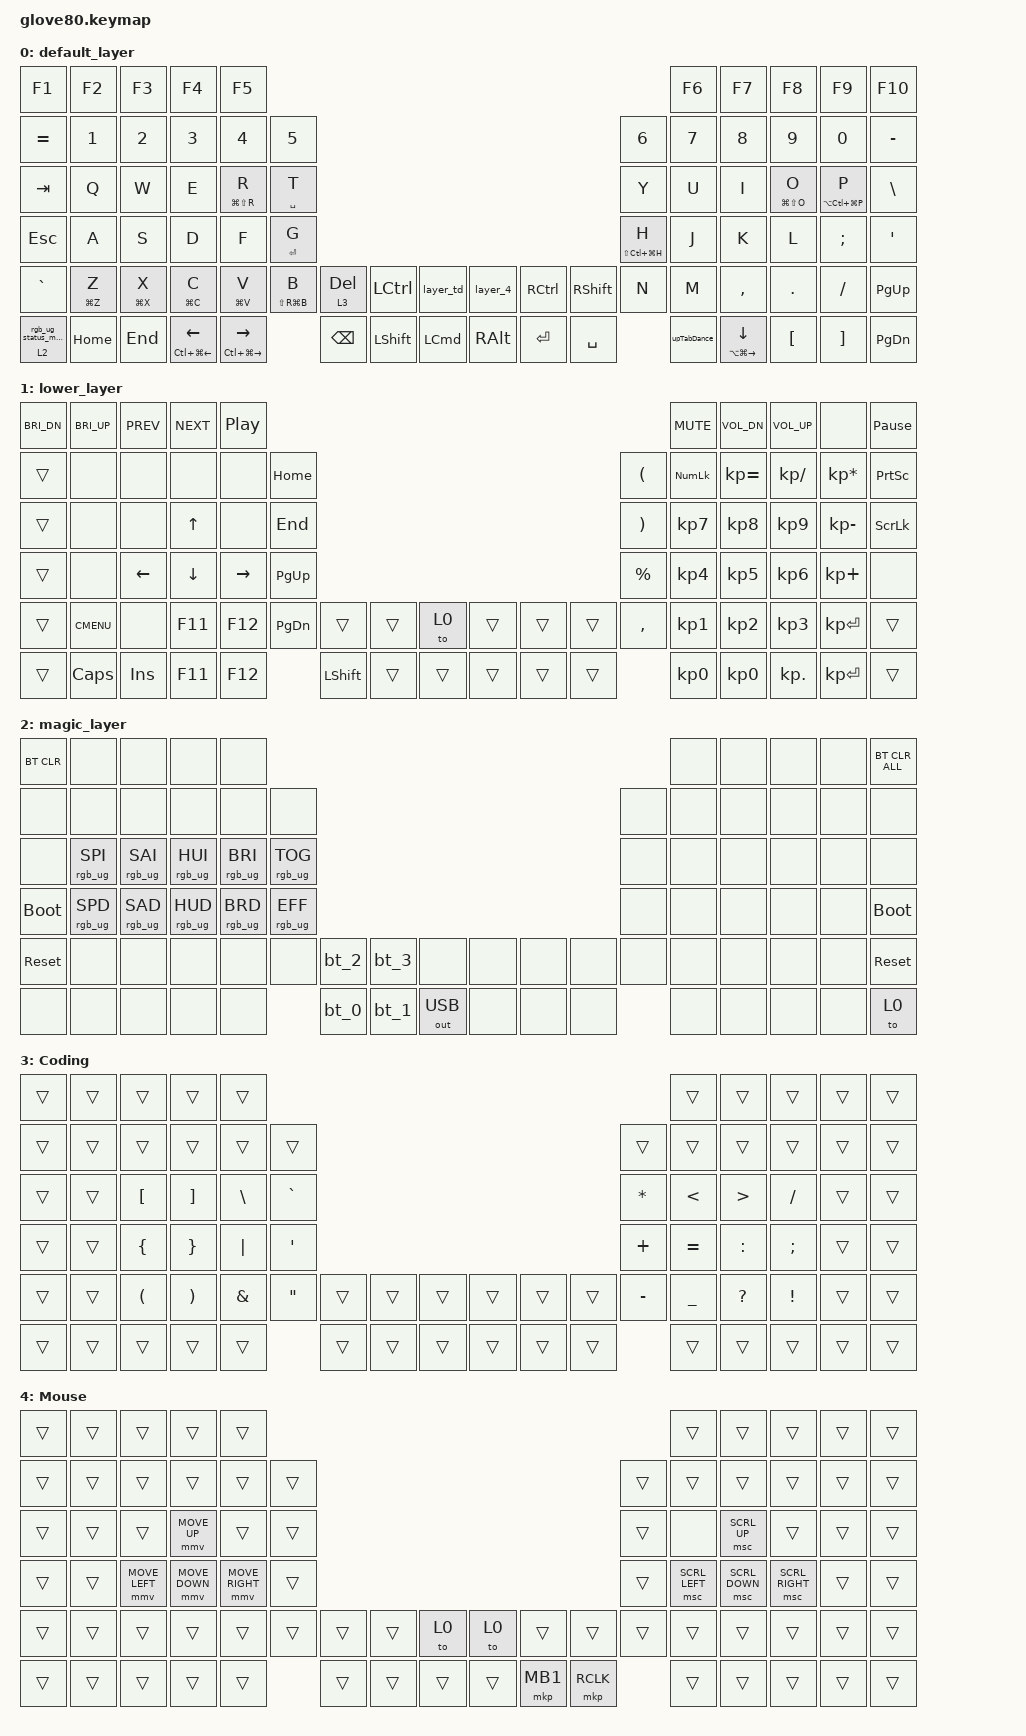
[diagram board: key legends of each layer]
/*
 * Copyright (c) 2020 The ZMK Contributors
 *
 * SPDX-License-Identifier: MIT
 */

#include <behaviors.dtsi>
#include <dt-bindings/zmk/bt.h>
#include <dt-bindings/zmk/keys.h>
#include <dt-bindings/zmk/outputs.h>
#include <dt-bindings/zmk/pointing.h>
#include <dt-bindings/zmk/rgb.h>

#define HYPER LC(LS(LG(LALT)))

// layers

#define DEFAULT 0
#define LOWER 1
#define MAGIC 2
#define CODING 3
#define MOUSE 4

/ {
    behaviors {
        // For the "layer" key, it'd nice to be able to use it as either a shift or a toggle.
        // Configure it as a tap dance, so the first tap (or hold) is a &mo and the second tap is a &to

        layer_td: tap_dance_0 {
            compatible = "zmk,behavior-tap-dance";
            label = "LAYER_TAP_DANCE";
            #binding-cells = <0>;
            tapping-term-ms = <300>;
            bindings = <&mo 1>, <&to 1>;
        };

        magic: magic_hold_tap {
            compatible = "zmk,behavior-hold-tap";
            label = "MAGIC_HOLD_TAP";
            #binding-cells = <2>;
            flavor = "tap-preferred";
            tapping-term-ms = <200>;
            bindings = <&mo>, <&rgb_ug_status_macro>;
        };

        hm: hm {
            compatible = "zmk,behavior-hold-tap";
            label = "HM";
            bindings = <&kp>, <&kp>;

            #binding-cells = <2>;
            tapping-term-ms = <400>;
            quick-tap-ms = <400>;
            require-prior-idle-ms = <400>;
            flavor = "balanced";
        };

        layer_4: layer_4 {
            compatible = "zmk,behavior-tap-dance";
            label = "LAYER_4";
            #binding-cells = <0>;
            tapping-term-ms = <300>;
            bindings = <&mo 4>, <&to 4>;
        };

        upTabDance: upTabDance {
            compatible = "zmk,behavior-tap-dance";
            label = "UPTABDANCE";
            #binding-cells = <0>;
            bindings =
                <&kp UP_ARROW>,
                <&hm LA(LG(RIGHT_ARROW)) LA(LC(LG(UP_ARROW)))>;

            tapping-term-ms = <200>;
        };
    };

    macros {
        rgb_ug_status_macro: rgb_ug_status_macro_0 {
            label = "RGB_UG_STATUS";
            compatible = "zmk,behavior-macro";
            #binding-cells = <0>;
            bindings = <&rgb_ug RGB_STATUS>;
        };

        bt_0: bt_profile_macro_0 {
            label = "BT_0";
            compatible = "zmk,behavior-macro";
            #binding-cells = <0>;
            bindings = <&out OUT_BLE &bt BT_SEL 0>;
        };

        bt_1: bt_profile_macro_1 {
            label = "BT_1";
            compatible = "zmk,behavior-macro";
            #binding-cells = <0>;
            bindings = <&out OUT_BLE &bt BT_SEL 1>;
        };

        bt_2: bt_profile_macro_2 {
            label = "BT_2";
            compatible = "zmk,behavior-macro";
            #binding-cells = <0>;
            bindings = <&out OUT_BLE &bt BT_SEL 2>;
        };

        bt_3: bt_profile_macro_3 {
            label = "BT_3";
            compatible = "zmk,behavior-macro";
            #binding-cells = <0>;
            bindings = <&out OUT_BLE &bt BT_SEL 3>;
        };
    };

    keymap {
        compatible = "zmk,keymap";

        default_layer {
            // ---------------------------------------------------------------------------------------------------------------------------------
            // |  F1   |  F2 |  F3 |  F4  |  F5  |                                                               |  F6   |  F7   |  F8  |   F9  |  F10 |
            // |  =    |  1  |  2  |  3   |  4   |  5   |                                                 |  6   |   7   |   8   |  9   |   0   |   -  |
            // |  TAB  |  Q  |  W  |  E   |  R   |  T   |                                                 |  Y   |   U   |   I   |  O   |   P   |   \  |
            // |  ESC  |  A  |  S  |  D   |  F   |  G   |                                                 |  H   |   J   |   K   |  L   |   ;   |   '  |
            // |   `   |  Z  |  X  |  C   |  V   |  B   | LSHFT | LCTRL | LOWER | | LGUI  | RCTRL | RSHFT |  N   |   M   |   ,   |  .   |   /   | PGUP |
            // | MAGIC | HOME| END | LEFT | RIGHT|      | BSPC  | DEL   | LALT  | | RALT  | RET   | SPACE |      |  UP   | DOWN  |  [   |   ]   | PGDN |

            bindings = <
&kp F1      &kp F2       &kp F3       &kp F4                 &kp F5                                                                                                                                          &kp F6       &kp F7                        &kp F8           &kp F9               &kp F10
&kp EQUAL   &kp N1       &kp N2       &kp N3                 &kp N4                   &kp N5                                                                                            &kp N6               &kp N7       &kp N8                        &kp N9           &kp N0               &kp MINUS
&kp TAB     &kp Q        &kp W        &kp E                  &hm LG(LS(R)) R          &hm SPACE T                                                                                       &kp Y                &kp U        &kp I                         &hm LG(LS(O)) O  &hm LA(LC(LG(P))) P  &kp BSLH
&kp ESC     &kp A        &kp S        &kp D                  &kp F                    &hm ENTER G                                                                                       &hm LS(LC(LG(H))) H  &kp J        &kp K                         &kp L            &kp SEMI             &kp SQT
&kp GRAVE   &hm LG(Z) Z  &hm LG(X) X  &hm LG(C) C            &hm LG(V) V              &hm LS(RG(B)) B  &lt 3 DELETE   &kp LCTRL       &layer_td         &layer_4  &kp RCTRL  &kp RSHFT  &kp N                &kp M        &kp COMMA                     &kp DOT          &kp FSLH             &kp PG_UP
&magic 2 0  &kp HOME     &kp END      &hm LC(LG(LEFT)) LEFT  &hm LC(LG(RIGHT)) RIGHT                   &kp BACKSPACE  &kp LEFT_SHIFT  &kp LEFT_COMMAND  &kp RALT  &kp RET    &kp SPACE                       &upTabDance  &hm LA(LG(RIGHT)) DOWN_ARROW  &kp LBKT         &kp RBKT             &kp PG_DN
            >;
        };

        lower_layer {
            bindings = <
&kp C_BRI_DN  &kp C_BRI_UP  &kp C_PREV  &kp C_NEXT  &kp C_PP                                                                                 &kp C_MUTE  &kp C_VOL_DN  &kp C_VOL_UP   &none            &kp PAUSE_BREAK
&trans        &none         &none       &none       &none      &kp HOME                                                           &kp LPAR   &kp KP_NUM  &kp KP_EQUAL  &kp KP_DIVIDE  &kp KP_MULTIPLY  &kp PSCRN
&trans        &none         &none       &kp UP      &none      &kp END                                                            &kp RPAR   &kp KP_N7   &kp KP_N8     &kp KP_N9      &kp KP_MINUS     &kp SLCK
&trans        &none         &kp LEFT    &kp DOWN    &kp RIGHT  &kp PG_UP                                                          &kp PRCNT  &kp KP_N4   &kp KP_N5     &kp KP_N6      &kp KP_PLUS      &none
&trans        &kp K_CMENU   &none       &kp F11     &kp F12    &kp PG_DN  &trans          &trans  &to 0   &trans  &trans  &trans  &kp COMMA  &kp KP_N1   &kp KP_N2     &kp KP_N3      &kp KP_ENTER     &trans
&trans        &kp CAPS      &kp INS     &kp F11     &kp F12               &kp LEFT_SHIFT  &trans  &trans  &trans  &trans  &trans             &kp KP_N0   &kp KP_N0     &kp KP_DOT     &kp KP_ENTER     &trans
            >;
        };

        magic_layer {
            bindings = <
&bt BT_CLR   &none            &none            &none            &none                                                                                     &none  &none  &none  &none  &bt BT_CLR_ALL
&none        &none            &none            &none            &none            &none                                                             &none  &none  &none  &none  &none  &none
&none        &rgb_ug RGB_SPI  &rgb_ug RGB_SAI  &rgb_ug RGB_HUI  &rgb_ug RGB_BRI  &rgb_ug RGB_TOG                                                   &none  &none  &none  &none  &none  &none
&bootloader  &rgb_ug RGB_SPD  &rgb_ug RGB_SAD  &rgb_ug RGB_HUD  &rgb_ug RGB_BRD  &rgb_ug RGB_EFF                                                   &none  &none  &none  &none  &none  &bootloader
&sys_reset   &none            &none            &none            &none            &none            &bt_2  &bt_3  &none         &none  &none  &none  &none  &none  &none  &none  &none  &sys_reset
&none        &none            &none            &none            &none                             &bt_0  &bt_1  &out OUT_USB  &none  &none  &none         &none  &none  &none  &none  &to 0
            >;
        };

        Coding {
            bindings = <
&trans  &trans  &trans                &trans                 &trans                                                                                          &trans          &trans            &trans           &trans  &trans
&trans  &trans  &trans                &trans                 &trans         &trans                                                             &trans        &trans          &trans            &trans           &trans  &trans
&trans  &trans  &kp LBKT              &kp RBKT               &kp BSLH       &kp GRAVE                                                          &kp ASTERISK  &kp LESS_THAN   &kp GREATER_THAN  &kp SLASH        &trans  &trans
&trans  &trans  &kp LEFT_BRACE        &kp RIGHT_BRACE        &kp PIPE       &kp SINGLE_QUOTE                                                   &kp PLUS      &kp EQUAL       &kp COLON         &kp SEMICOLON    &trans  &trans
&trans  &trans  &kp LEFT_PARENTHESIS  &kp RIGHT_PARENTHESIS  &kp AMPERSAND  &kp DOUBLE_QUOTES  &trans  &trans  &trans  &trans  &trans  &trans  &kp MINUS     &kp UNDERSCORE  &kp QUESTION      &kp EXCLAMATION  &trans  &trans
&trans  &trans  &trans                &trans                 &trans                            &trans  &trans  &trans  &trans  &trans  &trans                &trans          &trans            &trans           &trans  &trans
            >;
        };

        Mouse {
            bindings = <
&trans  &trans  &trans          &trans          &trans                                                                                &trans          &trans          &trans           &trans  &trans
&trans  &trans  &trans          &trans          &trans           &trans                                                       &trans  &trans          &trans          &trans           &trans  &trans
&trans  &trans  &trans          &mmv MOVE_UP    &trans           &trans                                                       &trans  &none           &msc SCRL_UP    &trans           &trans  &trans
&trans  &trans  &mmv MOVE_LEFT  &mmv MOVE_DOWN  &mmv MOVE_RIGHT  &trans                                                       &trans  &msc SCRL_LEFT  &msc SCRL_DOWN  &msc SCRL_RIGHT  &trans  &trans
&trans  &trans  &trans          &trans          &trans           &trans  &trans  &trans  &to 0   &to 0   &trans    &trans     &trans  &trans          &trans          &trans           &trans  &trans
&trans  &trans  &trans          &trans          &trans                   &trans  &trans  &trans  &trans  &mkp MB1  &mkp RCLK          &trans          &trans          &trans           &trans  &trans
            >;
        };
    };

    conditional_layers { compatible = "zmk,conditional-layers"; };
};
